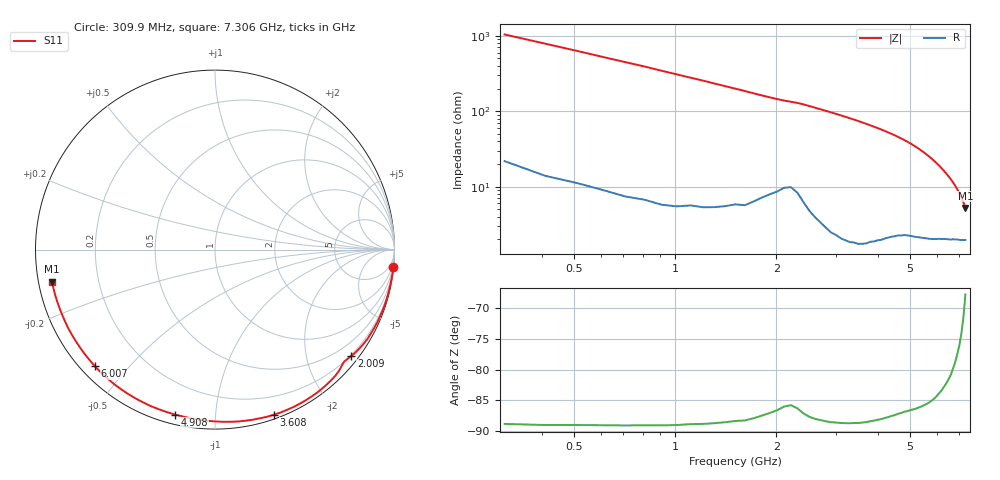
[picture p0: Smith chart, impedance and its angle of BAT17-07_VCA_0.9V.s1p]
! Infineon Technologies  Discrete & RF Semiconductors
! BAT17-07
! VCA = 0.9 V
! One-Port S-Parameters
# Hz  S  MA  R  50
!f  S11
!Hz  Mag  Ang
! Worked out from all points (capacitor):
!   71 points, 309.9 MHz to 7.306 GHz, reference 50 ohm
!   read as one part to ground: C = 495 fF near 309.9 MHz
!   lowest |Z| = 5.24 ohm at 7.306 GHz (marker M1)
!   S11 on the Smith chart (normalised r, x): 309.9 MHz: 0, -21; 2.009 GHz: 0.17, -2.89; 3.608 GHz: 0.04, -1.42; 4.908 GHz: 0.05, -0.79; 6.007 GHz: 0.04, -0.40; 7.306 GHz: 0.04, -0.10
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3.0985e8  0.998 -5.5
8.096e8  0.9957 -14.6
1.2094e9  0.9921 -22.3
1.6092e9  0.9847 -30.2
1.8091e9  0.9754 -34.3
2.009e9  0.9639 -38.0
2.10895e9  0.9561 -39.7
2.30885e9  0.9573 -42.4
2.50875e9  0.971 -46.3
2.8086e9  0.9778 -52.6
3.0085e9  0.9794 -56.9
3.30835e9  0.9797 -63.5
3.6082e9  0.9769 -70.4
3.8081e9  0.9727 -75.1
4.10795e9  0.9662 -82.4
4.30785e9  0.9603 -87.4
4.50775e9  0.9549 -92.6
4.70765e9  0.9498 -98.0
4.90755e9  0.9457 -103.5
5.2074e9  0.9423 -112.1
5.4073e9  0.9398 -118.1
5.6072e9  0.9375 -124.1
5.8071e9  0.9354 -130.0
6.007e9  0.9326 -135.9
6.2069e9  0.9302 -141.5
6.50675e9  0.9278 -149.5
6.90655e9  0.9254 -159.4
7.30635e9  0.9248 -168.9
